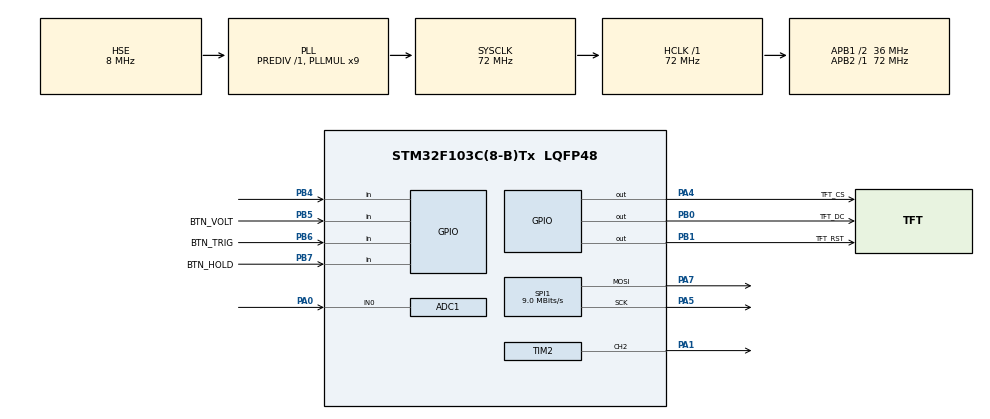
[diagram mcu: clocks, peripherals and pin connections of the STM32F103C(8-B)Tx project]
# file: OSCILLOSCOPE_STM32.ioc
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ADC1.Channel-0\#ChannelRegularConversion=ADC_CHANNEL_0
ADC1.ExternalTrigConv=ADC_EXTERNALTRIGCONV_T3_TRGO
ADC1.NbrOfConversionFlag=1
ADC1.Rank-0\#ChannelRegularConversion=1
ADC1.SamplingTime-0\#ChannelRegularConversion=ADC_SAMPLETIME_1CYCLE_5
ADC1.master=1
Dma.ADC1.0.Direction=DMA_PERIPH_TO_MEMORY
Dma.ADC1.0.Instance=DMA1_Channel1
Dma.ADC1.0.MemDataAlignment=DMA_MDATAALIGN_HALFWORD
Dma.ADC1.0.MemInc=DMA_MINC_ENABLE
Dma.ADC1.0.Mode=DMA_CIRCULAR
Dma.ADC1.0.PeriphDataAlignment=DMA_PDATAALIGN_HALFWORD
Dma.ADC1.0.PeriphInc=DMA_PINC_DISABLE
Dma.ADC1.0.Priority=DMA_PRIORITY_LOW
Dma.Request0=ADC1
Mcu.Family=STM32F1
Mcu.Name=STM32F103C(8-B)Tx
Mcu.Package=LQFP48
NVIC.DMA1_Channel1_IRQn=true\:0\:0\:false\:false\:true\:false\:true\:true
NVIC.PriorityGroup=NVIC_PRIORITYGROUP_4
NVIC.RCC_IRQn=true\:0\:0\:false\:false\:true\:true\:false\:true
PA0-WKUP.Signal=ADCx_IN0
PA1.Signal=S_TIM2_CH2
PA13.Mode=Serial_Wire
PA13.Signal=SYS_JTMS-SWDIO
PA14.Mode=Serial_Wire
PA14.Signal=SYS_JTCK-SWCLK
PA4.GPIO_Label=TFT_CS
PA4.Signal=GPIO_Output
PA5.Mode=TX_Only_Simplex_Unidirect_Master
PA5.Signal=SPI1_SCK
PA7.Mode=TX_Only_Simplex_Unidirect_Master
PA7.Signal=SPI1_MOSI
PB0.GPIO_Label=TFT_DC
PB0.GPIO_Speed=GPIO_SPEED_FREQ_HIGH
PB0.Signal=GPIO_Output
PB1.GPIO_Label=TFT_RST
PB1.GPIO_Speed=GPIO_SPEED_FREQ_HIGH
PB1.Signal=GPIO_Output
PB4.Signal=GPIO_Input
PB5.GPIO_Label=BTN_VOLT
PB5.GPIO_PuPd=GPIO_PULLUP
PB5.Signal=GPIO_Input
PB6.GPIO_Label=BTN_TRIG
PB6.GPIO_PuPd=GPIO_PULLUP
PB6.Signal=GPIO_Input
PB7.GPIO_Label=BTN_HOLD
PB7.GPIO_PuPd=GPIO_PULLUP
PB7.Signal=GPIO_Input
PD0-OSC_IN.Mode=HSE-External-Oscillator
PD0-OSC_IN.Signal=RCC_OSC_IN
PD1-OSC_OUT.Mode=HSE-External-Oscillator
PD1-OSC_OUT.Signal=RCC_OSC_OUT
ProjectManager.HeapSize=0x200
ProjectManager.StackSize=0x400
ProjectManager.TargetToolchain=MDK-ARM V5.32
RCC.ADCPresc=RCC_ADCPCLK2_DIV6
RCC.AHBFreq_Value=72000000
RCC.APB1CLKDivider=RCC_HCLK_DIV2
RCC.APB1Freq_Value=36000000
RCC.APB1TimFreq_Value=72000000
RCC.APB2Freq_Value=72000000
RCC.APB2TimFreq_Value=72000000
RCC.HCLKFreq_Value=72000000
RCC.PLLMUL=RCC_PLL_MUL9
RCC.PLLSourceVirtual=RCC_PLLSOURCE_HSE
RCC.SYSCLKFreq_VALUE=72000000
RCC.SYSCLKSource=RCC_SYSCLKSOURCE_PLLCLK
RCC.USBFreq_Value=72000000
SH.ADCx_IN0.0=ADC1_IN0,IN0
SH.S_TIM2_CH2.0=TIM2_CH2,PWM Generation2 CH2
SPI1.BaudRatePrescaler=SPI_BAUDRATEPRESCALER_8
SPI1.CalculateBaudRate=9.0 MBits/s
SPI1.Direction=SPI_DIRECTION_2LINES
SPI1.Mode=SPI_MODE_MASTER
SPI1.VirtualType=VM_MASTER
TIM2.Channel-PWM\ Generation2\ CH2=TIM_CHANNEL_2
TIM2.Period=999
TIM2.Prescaler=71
TIM2.Pulse-PWM\ Generation2\ CH2=500
TIM3.Period=9
TIM3.Prescaler=71
TIM3.TIM_MasterOutputTrigger=TIM_TRGO_UPDATE
VP_TIM2_VS_ClockSourceINT.Mode=Internal
VP_TIM3_VS_ClockSourceINT.Mode=Internal
board=custom

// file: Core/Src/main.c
/* USER CODE BEGIN Header */
/**
  ******************************************************************************
  * @file           : main.c
  * @brief          : Digital Oscilloscope - V07 Standard (Optimized Hold & Smart UI Refresh)
  ******************************************************************************
  */
/* USER CODE END Header */
#include "main.h"
#include <stdio.h>
#include <string.h>
#include <stdlib.h>
#include <math.h>

#define LCD_WIDTH       128
#define LCD_HEIGHT      160

#define COLOR_BLACK     0x0000
#define COLOR_WHITE     0xFFFF
#define COLOR_YELLOW    0xFFE0
#define COLOR_GREEN     0x07E0
#define COLOR_CYAN      0x07FF
#define COLOR_RED       0xF800
#define COLOR_GRAY      0x39E7

#define ADC_BUFFER_SIZE 240
#define WAVE_POINTS     120
#define TRIG_HYSTERESIS 30

#define TFT_CS_LOW()    HAL_GPIO_WritePin(TFT_CS_GPIO_Port, TFT_CS_Pin, GPIO_PIN_RESET)
#define TFT_CS_HIGH()   HAL_GPIO_WritePin(TFT_CS_GPIO_Port, TFT_CS_Pin, GPIO_PIN_SET)
#define TFT_DC_LOW()    HAL_GPIO_WritePin(GPIOB, TFT_DC_Pin, GPIO_PIN_RESET)
#define TFT_DC_HIGH()   HAL_GPIO_WritePin(GPIOB, TFT_DC_Pin, GPIO_PIN_SET)
#define TFT_RST_LOW()   HAL_GPIO_WritePin(GPIOB, TFT_RST_Pin, GPIO_PIN_RESET)
#define TFT_RST_HIGH()  HAL_GPIO_WritePin(GPIOB, TFT_RST_Pin, GPIO_PIN_SET)

ADC_HandleTypeDef hadc1;
DMA_HandleTypeDef hdma_adc1;

SPI_HandleTypeDef hspi1;
TIM_HandleTypeDef htim2;
TIM_HandleTypeDef htim3;

uint16_t adc_sample_buffer[ADC_BUFFER_SIZE];
uint8_t prev_wave_y[WAVE_POINTS];

uint8_t is_hold = 0;
uint8_t time_scale_idx = 1;
uint8_t volt_scale_idx = 1;
uint16_t trig_level_adc = 2048;

float signal_vpp   = 0.0f;
float signal_vmax  = 0.0f;
float signal_vmin  = 0.0f;
float signal_vrms  = 0.0f;
float signal_freq  = 0.0f;
volatile uint8_t dma_complete = 0;

/* Các biến lưu giá trị cũ để kiểm soát chỉ load lại khi thay đổi */
static float old_vpp = -1.0f;
static float old_vmax = -1.0f;
static float old_vmin = -1.0f;
static float old_freq = -1.0f;
static uint8_t old_hold = 0xFF;
static uint8_t old_time_idx = 0xFF;
static uint8_t old_volt_idx = 0xFF;
static uint16_t old_trig = 0xFFFF;

const uint32_t arr_table[4] = { 49, 99, 199, 999 };
const char* time_label_table[4] = { "50us", "100us", "200us", "1ms" };
const float volt_scale_table[3] = { 0.5f, 1.0f, 2.0f };
const char* volt_label_table[3] = { "0.5V", "1.0V", "2.0V" };

const uint8_t font5x7[96][5] = {
    {0x00,0x00,0x00,0x00,0x00},{0x00,0x00,0x5F,0x00,0x00},{0x00,0x07,0x00,0x07,0x00},{0x14,0x7F,0x14,0x7F,0x14},
    {0x24,0x2A,0x7F,0x2A,0x12},{0x23,0x13,0x08,0x64,0x62},{0x36,0x49,0x55,0x22,0x50},{0x00,0x05,0x03,0x00,0x00},
    {0x00,0x1C,0x22,0x41,0x00},{0x00,0x41,0x22,0x1C,0x00},{0x08,0x2A,0x1C,0x2A,0x08},{0x08,0x08,0x3E,0x08,0x08},
    {0x00,0x50,0x30,0x00,0x00},{0x08,0x08,0x08,0x08,0x08},{0x00,0x60,0x60,0x00,0x00},{0x20,0x10,0x08,0x04,0x02},
    {0x3E,0x51,0x49,0x45,0x3E},{0x00,0x42,0x7F,0x40,0x00},{0x42,0x61,0x51,0x49,0x46},{0x21,0x41,0x45,0x4B,0x31},
    {0x18,0x14,0x12,0x7F,0x10},{0x27,0x45,0x45,0x45,0x39},{0x3C,0x4A,0x49,0x49,0x30},{0x01,0x71,0x09,0x05,0x03},
    {0x36,0x49,0x49,0x49,0x36},{0x06,0x49,0x49,0x29,0x1E},{0x00,0x36,0x36,0x00,0x00},{0x00,0x56,0x36,0x00,0x00},
    {0x08,0x14,0x22,0x41,0x00},{0x14,0x14,0x14,0x14,0x14},{0x00,0x41,0x22,0x14,0x08},{0x02,0x01,0x51,0x09,0x06},
    {0x32,0x49,0x79,0x41,0x3E},{0x7E,0x11,0x11,0x11,0x7E},{0x7F,0x49,0x49,0x49,0x36},{0x3E,0x41,0x41,0x41,0x22},
    {0x7F,0x41,0x41,0x22,0x1C},{0x7F,0x49,0x49,0x49,0x41},{0x7F,0x09,0x09,0x09,0x01},{0x3E,0x41,0x49,0x49,0x7A},
    {0x7F,0x08,0x08,0x08,0x7F},{0x00,0x41,0x7F,0x41,0x00},{0x20,0x40,0x41,0x3F,0x01},{0x7F,0x08,0x14,0x22,0x41},
    {0x7F,0x40,0x40,0x40,0x40},{0x7F,0x02,0x0C,0x02,0x7F},{0x7F,0x04,0x08,0x10,0x7F},{0x3E,0x41,0x41,0x41,0x3E},
    {0x7F,0x09,0x09,0x09,0x06},{0x3E,0x41,0x51,0x21,0x5E},{0x7F,0x09,0x19,0x29,0x46},{0x46,0x49,0x49,0x49,0x31},
    {0x01,0x01,0x7F,0x01,0x01},{0x3F,0x40,0x40,0x40,0x3F},{0x1F,0x20,0x40,0x20,0x1F},{0x3F,0x40,0x38,0x40,0x3F},
    {0x63,0x14,0x08,0x14,0x63},{0x07,0x08,0x70,0x08,0x07},{0x61,0x51,0x49,0x45,0x43},{0x00,0x7F,0x41,0x41,0x00},
    {0x02,0x04,0x08,0x10,0x20},{0x00,0x41,0x41,0x7F,0x00},{0x04,0x02,0x01,0x02,0x04},{0x40,0x40,0x40,0x40,0x40},
    {0x00,0x01,0x02,0x04,0x00},{0x20,0x54,0x54,0x54,0x78},{0x7F,0x48,0x44,0x44,0x38},{0x38,0x44,0x44,0x44,0x20},
    {0x38,0x44,0x44,0x48,0x7F},{0x38,0x54,0x54,0x54,0x18},{0x08,0x7E,0x09,0x01,0x02},{0x0C,0x52,0x52,0x52,0x3E},
    {0x7F,0x08,0x04,0x04,0x78},{0x00,0x44,0x7D,0x40,0x00},{0x20,0x40,0x44,0x3D,0x00},{0x7F,0x10,0x28,0x44,0x00},
    {0x00,0x41,0x7F,0x40,0x00},{0x7C,0x04,0x18,0x04,0x78},{0x7C,0x08,0x04,0x04,0x78},{0x38,0x44,0x44,0x44,0x38},
    {0x7C,0x14,0x14,0x14,0x08},{0x08,0x14,0x14,0x18,0x7C},{0x7C,0x08,0x04,0x04,0x08},{0x48,0x54,0x54,0x54,0x20},
    {0x04,0x3F,0x44,0x40,0x20},{0x3C,0x40,0x40,0x20,0x7C},{0x1C,0x20,0x40,0x20,0x1C},{0x3C,0x40,0x30,0x40,0x3C},
    {0x44,0x28,0x10,0x28,0x44},{0x0C,0x50,0x50,0x50,0x3C},{0x44,0x64,0x54,0x4C,0x44},{0x00,0x08,0x36,0x41,0x00},
    {0x00,0x00,0x7F,0x00,0x00},{0x00,0x41,0x36,0x08,0x00},{0x08,0x08,0x2A,0x1C,0x08},{0x7F,0x7F,0x7F,0x7F,0x7F}
};

void SystemClock_Config(void);
static void MX_GPIO_Init(void);
static void MX_DMA_Init(void);
static void MX_ADC1_Init(void);
static void MX_SPI1_Init(void);
static void MX_TIM2_Init(void);
static void MX_TIM3_Init(void);

void ST7735_WriteCommand(uint8_t cmd);
void ST7735_WriteData(uint8_t* buff, size_t buff_size);
void ST7735_Init(void);
void ST7735_SetAddressWindow(uint8_t x0, uint8_t y0, uint8_t x1, uint8_t y1);
void ST7735_DrawPixel(uint8_t x, uint8_t y, uint16_t color);
void ST7735_FillRect(uint8_t x, uint8_t y, uint8_t w, uint8_t h, uint16_t color);
void ST7735_DrawLine(int16_t x0, int16_t y0, int16_t x1, int16_t y1, uint16_t color);
void ST7735_DrawChar(uint8_t x, uint8_t y, char ch, uint16_t color, uint16_t bg);
void ST7735_DrawString(uint8_t x, uint8_t y, const char* str, uint16_t color, uint16_t bg);
void Draw_ScopeGrid(void);
void Update_ScopeInfo(void);
void Process_Waveform(void);

void HAL_ADC_ConvCpltCallback(ADC_HandleTypeDef* hadc)
{
    dma_complete = 1;
}

/* USER CODE BEGIN 0 */
void ST7735_WriteCommand(uint8_t cmd) { TFT_DC_LOW(); TFT_CS_LOW(); HAL_SPI_Transmit(&hspi1, &cmd, 1, 100); TFT_CS_HIGH(); }
void ST7735_WriteData(uint8_t* buff, size_t buff_size) { TFT_DC_HIGH(); TFT_CS_LOW(); HAL_SPI_Transmit(&hspi1, buff, buff_size, 100); TFT_CS_HIGH(); }
void ST7735_SetAddressWindow(uint8_t x0, uint8_t y0, uint8_t x1, uint8_t y1) {
    ST7735_WriteCommand(0x2A); uint8_t data[4] = { 0x00, x0, 0x00, x1 }; ST7735_WriteData(data, 4);
    ST7735_WriteCommand(0x2B); data[1] = y0; data[3] = y1; ST7735_WriteData(data, 4);
    ST7735_WriteCommand(0x2C);
}
void ST7735_DrawPixel(uint8_t x, uint8_t y, uint16_t color) {
    if (x >= LCD_WIDTH || y >= LCD_HEIGHT) return;
    ST7735_SetAddressWindow(x, y, x, y);
    uint8_t data[2] = { color >> 8, color & 0xFF }; ST7735_WriteData(data, 2);
}
void ST7735_FillRect(uint8_t x, uint8_t y, uint8_t w, uint8_t h, uint16_t color) {
    if (x >= LCD_WIDTH || y >= LCD_HEIGHT) return;
    if ((x + w - 1) >= LCD_WIDTH)  w = LCD_WIDTH - x;
    if ((y + h - 1) >= LCD_HEIGHT) h = LCD_HEIGHT - y;
    ST7735_SetAddressWindow(x, y, x + w - 1, y + h - 1);
    uint8_t hi = color >> 8, lo = color & 0xFF; uint8_t line_buf[128 * 2];
    for (int i = 0; i < w * 2; i += 2) { line_buf[i] = hi; line_buf[i + 1] = lo; }
    TFT_DC_HIGH(); TFT_CS_LOW();
    for (int j = 0; j < h; j++) { HAL_SPI_Transmit(&hspi1, line_buf, w * 2, 100); }
    TFT_CS_HIGH();
}
void ST7735_DrawLine(int16_t x0, int16_t y0, int16_t x1, int16_t y1, uint16_t color) {
    int16_t dx = abs(x1 - x0), sx = x0 < x1 ? 1 : -1;
    int16_t dy = -abs(y1 - y0), sy = y0 < y1 ? 1 : -1;
    int16_t err = dx + dy, e2;
    while (1) {
        if (x0 >= 0 && x0 < LCD_WIDTH && y0 >= 0 && y0 < LCD_HEIGHT) ST7735_DrawPixel((uint8_t)x0, (uint8_t)y0, color);
        if (x0 == x1 && y0 == y1) break;
        e2 = 2 * err;
        if (e2 >= dy) { err += dy; x0 += sx; }
        if (e2 <= dx) { err += dx; y0 += sy; }
    }
}
void ST7735_DrawChar(uint8_t x, uint8_t y, char ch, uint16_t color, uint16_t bg) {
    if (ch < 32 || ch > 127) ch = ' ';
    uint8_t idx = ch - 32;
    for (uint8_t i = 0; i < 5; i++) {
        uint8_t line = font5x7[idx][i];
        for (uint8_t j = 0; j < 7; j++) {
            if (line & (1 << j)) ST7735_DrawPixel(x + i, y + j, color);
            else if (bg != color) ST7735_DrawPixel(x + i, y + j, bg);
        }
    }
}
void ST7735_DrawString(uint8_t x, uint8_t y, const char* str, uint16_t color, uint16_t bg) {
    while (*str) { if (x + 6 > LCD_WIDTH) break; ST7735_DrawChar(x, y, *str++, color, bg); x += 6; }
}
void ST7735_Init(void) {
    TFT_RST_LOW(); HAL_Delay(10); TFT_RST_HIGH(); HAL_Delay(10);
    ST7735_WriteCommand(0x01); HAL_Delay(50);
    ST7735_WriteCommand(0x11); HAL_Delay(50);
    ST7735_WriteCommand(0x3A); uint8_t cmod = 0x05; ST7735_WriteData(&cmod, 1);
    ST7735_WriteCommand(0x36); uint8_t madctl = 0x08; ST7735_WriteData(&madctl, 1);
    ST7735_WriteCommand(0x29); HAL_Delay(20);
    ST7735_FillRect(0, 0, LCD_WIDTH, LCD_HEIGHT, COLOR_BLACK);
}
void Draw_ScopeGrid(void) {
    for (int x = 4; x <= 124; x++) { ST7735_DrawPixel(x, 22, COLOR_WHITE); ST7735_DrawPixel(x, 142, COLOR_WHITE); }
    for (int y = 22; y <= 142; y++) { ST7735_DrawPixel(4, y, COLOR_WHITE); ST7735_DrawPixel(124, y, COLOR_WHITE); }
    for (int x = 4; x <= 124; x += 20) { for (int y = 22; y <= 142; y += 4) { ST7735_DrawPixel(x, y, COLOR_GRAY); } }
    for (int y = 22; y <= 142; y += 20) { for (int x = 4; x <= 124; x += 4) { ST7735_DrawPixel(x, y, COLOR_GRAY); } }
}

/* THUẬT TOÁN TỐI ƯU: Chỉ load/vẽ lại màn hình khi có sự thay đổi giá trị thực tế */
void Update_ScopeInfo(void) {
    char str[30];

    // 1. Kiểm tra và cập nhật dòng Trạng thái + Trigger
    if (is_hold != old_hold || trig_level_adc != old_trig) {
        ST7735_FillRect(2, 4, 124, 8, COLOR_BLACK);
        if (is_hold) ST7735_DrawString(2, 4, "HOLD", COLOR_RED, COLOR_BLACK);
        else ST7735_DrawString(2, 4, "RUN ", COLOR_GREEN, COLOR_BLACK);

        float v_trig = (trig_level_adc * 3.3f) / 4095.0f;
        sprintf(str, "Trg:%.2fV", v_trig);
        ST7735_DrawString(56, 4, str, COLOR_YELLOW, COLOR_BLACK);

        old_hold = is_hold;
        old_trig = trig_level_adc;
    }

    // 2. Kiểm tra và cập nhật Thang đo Time/Volt khi thay đổi
    if (time_scale_idx != old_time_idx || volt_scale_idx != old_volt_idx) {
        ST7735_FillRect(2, 13, 124, 8, COLOR_BLACK);
        sprintf(str, "T:%s V:%s", time_label_table[time_scale_idx], volt_label_table[volt_scale_idx]);
        ST7735_DrawString(2, 13, str, COLOR_WHITE, COLOR_BLACK);

        old_time_idx = time_scale_idx;
        old_volt_idx = volt_scale_idx;
    }

    // 3. Kiểm tra và cập nhật Max, Min khi giá trị thay đổi
    if (signal_vmax != old_vmax || signal_vmin != old_vmin) {
        ST7735_FillRect(2, 144, 124, 8, COLOR_BLACK);
        sprintf(str, "Max:%.1fV", signal_vmax);
        ST7735_DrawString(2, 144, str, COLOR_CYAN, COLOR_BLACK);

        sprintf(str, "Min:%.1fV", signal_vmin);
        ST7735_DrawString(68, 144, str, COLOR_CYAN, COLOR_BLACK);

        old_vmax = signal_vmax;
        old_vmin = signal_vmin;
    }

    // 4. Kiểm tra và cập nhật Vpp, Tần số khi giá trị thay đổi
    if (signal_vpp != old_vpp || signal_freq != old_freq) {
        ST7735_FillRect(2, 152, 124, 8, COLOR_BLACK);
        sprintf(str, "Vpp:%.2fV", signal_vpp);
        ST7735_DrawString(2, 152, str, COLOR_WHITE, COLOR_BLACK);

        if (signal_freq >= 1000.0f) {
            sprintf(str, "f:%.1fkHz", signal_freq / 1000.0f);
        } else {
            sprintf(str, "f:%.0fHz", signal_freq);
        }
        ST7735_DrawString(68, 152, str, COLOR_WHITE, COLOR_BLACK);

        old_vpp = signal_vpp;
        old_freq = signal_freq;
    }
}

void Process_Waveform(void)
{
    // Nếu đang bật chế độ HOLD: chỉ gọi cập nhật thông tin giao diện (cho phép đổi scale/trig khi hold) rồi thoát ngay
    if (is_hold) {
        Update_ScopeInfo();
        return;
    }

    __HAL_TIM_SET_AUTORELOAD(&htim3, arr_table[time_scale_idx]);
    __HAL_TIM_SET_COUNTER(&htim3, 0);

    dma_complete = 0;
    HAL_ADC_Start_DMA(&hadc1, (uint32_t*)adc_sample_buffer, ADC_BUFFER_SIZE);

    uint32_t start_tick = HAL_GetTick();
    while (!dma_complete) {
        if (HAL_GetTick() - start_tick > 200) break;
    }
    HAL_ADC_Stop_DMA(&hadc1);

    uint16_t adc_max = 0, adc_min = 4095;
    float sum_sq = 0.0f;
    for (int i = 0; i < ADC_BUFFER_SIZE; i++) {
        uint16_t s = adc_sample_buffer[i];
        if (s > adc_max) adc_max = s;
        if (s < adc_min) adc_min = s;
        float v = (s * 3.3f) / 4095.0f;
        sum_sq += v * v;
    }
    uint16_t threshold = (adc_max + adc_min) / 2;

    int trigger_idx = 0;
    for (int i = 1; i < WAVE_POINTS; i++) {
        if (adc_sample_buffer[i - 1] < (int32_t)(trig_level_adc - TRIG_HYSTERESIS) &&
            adc_sample_buffer[i]     >= (int32_t)(trig_level_adc + TRIG_HYSTERESIS)) {
            trigger_idx = i;
            break;
        }
    }

    int first_edge_idx = -1, second_edge_idx = -1;
    for (int i = 1; i < ADC_BUFFER_SIZE; i++) {
        if (adc_sample_buffer[i - 1] < threshold && adc_sample_buffer[i] >= threshold) {
            if (first_edge_idx == -1) {
                first_edge_idx = i;
            } else {
                second_edge_idx = i;
                break;
            }
        }
    }

    if (adc_max > adc_min && (adc_max - adc_min) > 80) {
        signal_vpp  = ((adc_max - adc_min) * 3.3f) / 4095.0f;
        signal_vmax = (adc_max * 3.3f) / 4095.0f;
        signal_vmin = (adc_min * 3.3f) / 4095.0f;
        signal_vrms = sqrtf(sum_sq / ADC_BUFFER_SIZE);

        if (first_edge_idx != -1 && second_edge_idx != -1) {
            int32_t period_ticks = second_edge_idx - first_edge_idx;
            if (period_ticks > 0) {
                float period_us = period_ticks * (float)(arr_table[time_scale_idx] + 1);
                signal_freq = 1000000.0f / period_us;
            }
        }
    } else {
        signal_vpp = 0.0f; signal_vmax = 0.0f; signal_vmin = 0.0f;
        signal_vrms = 0.0f; signal_freq = 0.0f;
    }

    for (int i = 0; i < WAVE_POINTS - 1; i++) {
        ST7735_DrawLine(4 + i, prev_wave_y[i], 4 + i + 1, prev_wave_y[i + 1], COLOR_BLACK);
    }
    Draw_ScopeGrid();

    float v_scale = volt_scale_table[volt_scale_idx];
    for (int i = 0; i < WAVE_POINTS; i++) {
        uint16_t sample = adc_sample_buffer[trigger_idx + i];
        int32_t offset_val = (int32_t)sample - 2048;
        int16_t y = 82 - (int16_t)((offset_val * 42.0f * v_scale) / 2048.0f);
        if (y < 23) y = 23; if (y > 141) y = 141;
        prev_wave_y[i] = (uint8_t)y;
    }

    for (int i = 0; i < WAVE_POINTS - 1; i++) {
        ST7735_DrawLine(4 + i, prev_wave_y[i], 4 + i + 1, prev_wave_y[i + 1], COLOR_CYAN);
    }
    Update_ScopeInfo();
}
/* USER CODE END 0 */

int main(void)
{
  HAL_Init();
  SystemClock_Config();
  MX_GPIO_Init();
  MX_DMA_Init();
  MX_ADC1_Init();
  MX_SPI1_Init();
  MX_TIM2_Init();
  MX_TIM3_Init();

  HAL_TIM_PWM_Start(&htim2, TIM_CHANNEL_2);
  HAL_TIM_Base_Start(&htim3);

  ADC1->CR2 |= ADC_CR2_ADON;
  HAL_Delay(5);
  HAL_ADCEx_Calibration_Start(&hadc1);

  ST7735_Init();
  Draw_ScopeGrid();
  Update_ScopeInfo();

  while (1)
  {
    Process_Waveform();
  }
}

void SystemClock_Config(void)
{
  RCC_OscInitTypeDef RCC_OscInitStruct = {0};
  RCC_ClkInitTypeDef RCC_ClkInitStruct = {0};
  RCC_PeriphCLKInitTypeDef PeriphClkInit = {0};

  RCC_OscInitStruct.OscillatorType = RCC_OSCILLATORTYPE_HSE;
  RCC_OscInitStruct.HSEState = RCC_HSE_ON;
  RCC_OscInitStruct.HSEPredivValue = RCC_HSE_PREDIV_DIV1;
  RCC_OscInitStruct.HSIState = RCC_HSI_ON;
  RCC_OscInitStruct.PLL.PLLState = RCC_PLL_ON;
  RCC_OscInitStruct.PLL.PLLSource = RCC_PLLSOURCE_HSE;
  RCC_OscInitStruct.PLL.PLLMUL = RCC_PLL_MUL9;
  if (HAL_RCC_OscConfig(&RCC_OscInitStruct) != HAL_OK) { Error_Handler(); }

  RCC_ClkInitStruct.ClockType = RCC_CLOCKTYPE_HCLK|RCC_CLOCKTYPE_SYSCLK|RCC_CLOCKTYPE_PCLK1|RCC_CLOCKTYPE_PCLK2;
  RCC_ClkInitStruct.SYSCLKSource = RCC_SYSCLKSOURCE_PLLCLK;
  RCC_ClkInitStruct.AHBCLKDivider = RCC_SYSCLK_DIV1;
  RCC_ClkInitStruct.APB1CLKDivider = RCC_HCLK_DIV2;
  RCC_ClkInitStruct.APB2CLKDivider = RCC_HCLK_DIV1;
  if (HAL_RCC_ClockConfig(&RCC_ClkInitStruct, FLASH_LATENCY_2) != HAL_OK) { Error_Handler(); }

  PeriphClkInit.PeriphClockSelection = RCC_PERIPHCLK_ADC;
  PeriphClkInit.AdcClockSelection = RCC_ADCPCLK2_DIV6;
  if (HAL_RCCEx_PeriphCLKConfig(&PeriphClkInit) != HAL_OK) { Error_Handler(); }
}

static void MX_ADC1_Init(void)
{
  ADC_ChannelConfTypeDef sConfig = {0};
  __HAL_RCC_ADC1_CLK_ENABLE();
  __HAL_RCC_GPIOA_CLK_ENABLE();

  hdma_adc1.Instance = DMA1_Channel1;
  hdma_adc1.Init.Direction = DMA_PERIPH_TO_MEMORY;
  hdma_adc1.Init.PeriphInc = DMA_PINC_DISABLE;
  hdma_adc1.Init.MemInc = DMA_MINC_ENABLE;
  hdma_adc1.Init.PeriphDataAlignment = DMA_PDATAALIGN_HALFWORD;
  hdma_adc1.Init.MemDataAlignment = DMA_MDATAALIGN_HALFWORD;
  hdma_adc1.Init.Mode = DMA_NORMAL;
  hdma_adc1.Init.Priority = DMA_PRIORITY_HIGH;
  if (HAL_DMA_Init(&hdma_adc1) != HAL_OK) { Error_Handler(); }
  __HAL_LINKDMA(&hadc1, DMA_Handle, hdma_adc1);

  hadc1.Instance = ADC1;
  hadc1.Init.ScanConvMode = ADC_SCAN_DISABLE;
  hadc1.Init.ContinuousConvMode = DISABLE;
  hadc1.Init.DiscontinuousConvMode = DISABLE;
  hadc1.Init.ExternalTrigConv = ADC_EXTERNALTRIGCONV_T3_TRGO;
  hadc1.Init.DataAlign = ADC_DATAALIGN_RIGHT;
  hadc1.Init.NbrOfConversion = 1;
  if (HAL_ADC_Init(&hadc1) != HAL_OK) { Error_Handler(); }

  sConfig.Channel = ADC_CHANNEL_0;
  sConfig.Rank = ADC_REGULAR_RANK_1;
  sConfig.SamplingTime = ADC_SAMPLETIME_55CYCLES_5;
  if (HAL_ADC_ConfigChannel(&hadc1, &sConfig) != HAL_OK) { Error_Handler(); }
}

static void MX_SPI1_Init(void)
{
  hspi1.Instance = SPI1;
  hspi1.Init.Mode = SPI_MODE_MASTER;
  hspi1.Init.Direction = SPI_DIRECTION_2LINES;
  hspi1.Init.DataSize = SPI_DATASIZE_8BIT;
  hspi1.Init.CLKPolarity = SPI_POLARITY_LOW;
  hspi1.Init.CLKPhase = SPI_PHASE_1EDGE;
  hspi1.Init.NSS = SPI_NSS_SOFT;
  hspi1.Init.BaudRatePrescaler = SPI_BAUDRATEPRESCALER_8;
  hspi1.Init.FirstBit = SPI_FIRSTBIT_MSB;
  hspi1.Init.TIMode = SPI_TIMODE_DISABLE;
  hspi1.Init.CRCCalculation = SPI_CRCCALCULATION_DISABLE;
  hspi1.Init.CRCPolynomial = 10;
  if (HAL_SPI_Init(&hspi1) != HAL_OK) { Error_Handler(); }
}

static void MX_TIM2_Init(void)
{
  TIM_ClockConfigTypeDef sClockSourceConfig = {0};
  TIM_MasterConfigTypeDef sMasterConfig = {0};
  TIM_OC_InitTypeDef sConfigOC = {0};

  htim2.Instance = TIM2;
  htim2.Init.Prescaler = 71;
  htim2.Init.CounterMode = TIM_COUNTERMODE_UP;
  htim2.Init.Period = 999;
  htim2.Init.ClockDivision = TIM_CLOCKDIVISION_DIV1;
  htim2.Init.AutoReloadPreload = TIM_AUTORELOAD_PRELOAD_DISABLE;
  if (HAL_TIM_Base_Init(&htim2) != HAL_OK) { Error_Handler(); }

  sClockSourceConfig.ClockSource = TIM_CLOCKSOURCE_INTERNAL;
  if (HAL_TIM_ConfigClockSource(&htim2, &sClockSourceConfig) != HAL_OK) { Error_Handler(); }
  if (HAL_TIM_PWM_Init(&htim2) != HAL_OK) { Error_Handler(); }

  sMasterConfig.MasterOutputTrigger = TIM_TRGO_RESET;
  sMasterConfig.MasterSlaveMode = TIM_MASTERSLAVEMODE_DISABLE;
  if (HAL_TIMEx_MasterConfigSynchronization(&htim2, &sMasterConfig) != HAL_OK) { Error_Handler(); }

  sConfigOC.OCMode = TIM_OCMODE_PWM1;
  sConfigOC.Pulse = 500;
  sConfigOC.OCPolarity = TIM_OCPOLARITY_HIGH;
  sConfigOC.OCFastMode = TIM_OCFAST_DISABLE;
  if (HAL_TIM_PWM_ConfigChannel(&htim2, &sConfigOC, TIM_CHANNEL_2) != HAL_OK) { Error_Handler(); }
  HAL_TIM_MspPostInit(&htim2);
}

static void MX_TIM3_Init(void)
{
  TIM_ClockConfigTypeDef sClockSourceConfig = {0};
  TIM_MasterConfigTypeDef sMasterConfig = {0};

  htim3.Instance = TIM3;
  htim3.Init.Prescaler = 71;
  htim3.Init.CounterMode = TIM_COUNTERMODE_UP;
  htim3.Init.Period = 99;
  htim3.Init.ClockDivision = TIM_CLOCKDIVISION_DIV1;
  htim3.Init.AutoReloadPreload = TIM_AUTORELOAD_PRELOAD_DISABLE;
  if (HAL_TIM_Base_Init(&htim3) != HAL_OK) { Error_Handler(); }

  sClockSourceConfig.ClockSource = TIM_CLOCKSOURCE_INTERNAL;
  if (HAL_TIM_ConfigClockSource(&htim3, &sClockSourceConfig) != HAL_OK) { Error_Handler(); }

  sMasterConfig.MasterOutputTrigger = TIM_TRGO_UPDATE;
  sMasterConfig.MasterSlaveMode = TIM_MASTERSLAVEMODE_DISABLE;
  if (HAL_TIMEx_MasterConfigSynchronization(&htim3, &sMasterConfig) != HAL_OK) { Error_Handler(); }
}

static void MX_DMA_Init(void)
{
  __HAL_RCC_DMA1_CLK_ENABLE();
  HAL_NVIC_SetPriority(DMA1_Channel1_IRQn, 0, 0);
  HAL_NVIC_EnableIRQ(DMA1_Channel1_IRQn);
}

static void MX_GPIO_Init(void)
{
  GPIO_InitTypeDef GPIO_InitStruct = {0};
  __HAL_RCC_GPIOD_CLK_ENABLE();
  __HAL_RCC_GPIOA_CLK_ENABLE();
  __HAL_RCC_GPIOB_CLK_ENABLE();

  HAL_GPIO_WritePin(TFT_CS_GPIO_Port, TFT_CS_Pin, GPIO_PIN_RESET);
  HAL_GPIO_WritePin(GPIOB, TFT_DC_Pin|TFT_RST_Pin, GPIO_PIN_RESET);

  GPIO_InitStruct.Pin = TFT_CS_Pin;
  GPIO_InitStruct.Mode = GPIO_MODE_OUTPUT_PP;
  GPIO_InitStruct.Pull = GPIO_NOPULL;
  GPIO_InitStruct.Speed = GPIO_SPEED_FREQ_LOW;
  HAL_GPIO_Init(TFT_CS_GPIO_Port, &GPIO_InitStruct);

  GPIO_InitStruct.Pin = TFT_DC_Pin|TFT_RST_Pin;
  GPIO_InitStruct.Mode = GPIO_MODE_OUTPUT_PP;
  GPIO_InitStruct.Pull = GPIO_NOPULL;
  GPIO_InitStruct.Speed = GPIO_SPEED_FREQ_HIGH;
  HAL_GPIO_Init(GPIOB, &GPIO_InitStruct);

  GPIO_InitStruct.Pin = GPIO_PIN_0;
  GPIO_InitStruct.Mode = GPIO_MODE_ANALOG;
  GPIO_InitStruct.Pull = GPIO_NOPULL;
  HAL_GPIO_Init(GPIOA, &GPIO_InitStruct);

  GPIO_InitStruct.Pin = GPIO_PIN_1;
  GPIO_InitStruct.Mode = GPIO_MODE_AF_PP;
  GPIO_InitStruct.Speed = GPIO_SPEED_FREQ_LOW;
  HAL_GPIO_Init(GPIOA, &GPIO_InitStruct);

  GPIO_InitStruct.Pin = GPIO_PIN_4 | BTN_VOLT_Pin | BTN_TRIG_Pin | BTN_HOLD_Pin;
  GPIO_InitStruct.Mode = GPIO_MODE_IT_FALLING;
  GPIO_InitStruct.Pull = GPIO_PULLUP;
  HAL_GPIO_Init(GPIOB, &GPIO_InitStruct);

  HAL_NVIC_SetPriority(EXTI4_IRQn, 0, 0);
  HAL_NVIC_EnableIRQ(EXTI4_IRQn);
  HAL_NVIC_SetPriority(EXTI9_5_IRQn, 0, 0);
  HAL_NVIC_EnableIRQ(EXTI9_5_IRQn);
}

void Error_Handler(void) { __disable_irq(); while (1) { } }

void EXTI4_IRQHandler(void) {
    HAL_GPIO_EXTI_IRQHandler(GPIO_PIN_4);
}

void EXTI9_5_IRQHandler(void) {
    HAL_GPIO_EXTI_IRQHandler(BTN_VOLT_Pin);
    HAL_GPIO_EXTI_IRQHandler(BTN_TRIG_Pin);
    HAL_GPIO_EXTI_IRQHandler(BTN_HOLD_Pin);
}

void HAL_GPIO_EXTI_Callback(uint16_t GPIO_Pin)
{
    static uint32_t last_irq_tick = 0;
    if (HAL_GetTick() - last_irq_tick < 150) return;

    if (GPIO_Pin == GPIO_PIN_4) {
        time_scale_idx = (time_scale_idx + 1) % 4;
    }
    else if (GPIO_Pin == BTN_VOLT_Pin) {
        volt_scale_idx = (volt_scale_idx + 1) % 3;
    }
    else if (GPIO_Pin == BTN_TRIG_Pin) {
        trig_level_adc += 200;
        if (trig_level_adc > 3000) trig_level_adc = 1000;
    }
    else if (GPIO_Pin == BTN_HOLD_Pin) {
        is_hold = !is_hold;
    }

    last_irq_tick = HAL_GetTick();
}
